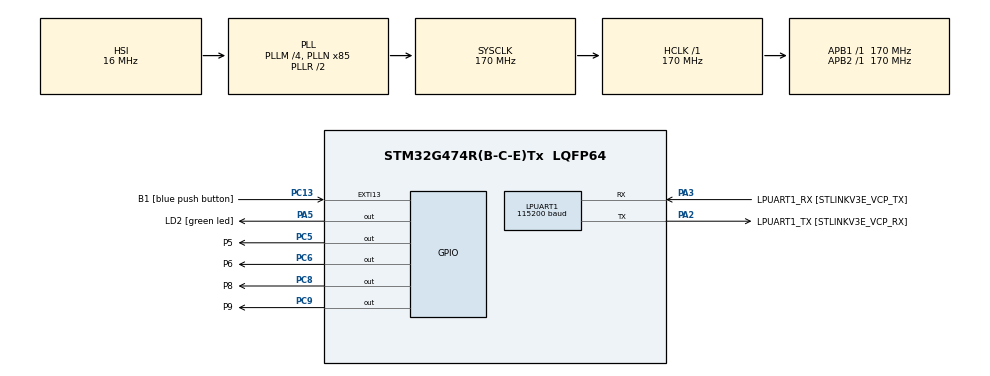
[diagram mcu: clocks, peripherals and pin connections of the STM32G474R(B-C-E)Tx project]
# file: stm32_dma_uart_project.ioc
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Dma.LPUART1_RX.0.Direction=DMA_PERIPH_TO_MEMORY
Dma.LPUART1_RX.0.EventEnable=DISABLE
Dma.LPUART1_RX.0.Instance=DMA1_Channel2
Dma.LPUART1_RX.0.MemDataAlignment=DMA_MDATAALIGN_BYTE
Dma.LPUART1_RX.0.MemInc=DMA_MINC_ENABLE
Dma.LPUART1_RX.0.Mode=DMA_NORMAL
Dma.LPUART1_RX.0.PeriphDataAlignment=DMA_PDATAALIGN_BYTE
Dma.LPUART1_RX.0.PeriphInc=DMA_PINC_DISABLE
Dma.LPUART1_RX.0.Polarity=HAL_DMAMUX_REQ_GEN_RISING
Dma.LPUART1_RX.0.Priority=DMA_PRIORITY_LOW
Dma.LPUART1_RX.0.RequestNumber=1
Dma.LPUART1_RX.0.SignalID=NONE
Dma.LPUART1_RX.0.SyncEnable=DISABLE
Dma.LPUART1_RX.0.SyncPolarity=HAL_DMAMUX_SYNC_NO_EVENT
Dma.LPUART1_RX.0.SyncRequestNumber=1
Dma.LPUART1_RX.0.SyncSignalID=NONE
Dma.Request0=LPUART1_RX
LPUART1.BaudRate=115200
LPUART1.WordLength=UART_WORDLENGTH_8B
Mcu.Family=STM32G4
Mcu.Name=STM32G474R(B-C-E)Tx
Mcu.Package=LQFP64
NVIC.DMA1_Channel2_IRQn=true\:0\:0\:false\:false\:true\:false\:true\:true
NVIC.EXTI15_10_IRQn=true\:0\:0\:false\:false\:true\:true\:true\:true
NVIC.LPUART1_IRQn=true\:0\:0\:false\:true\:true\:1\:true\:true\:true
NVIC.PriorityGroup=NVIC_PRIORITYGROUP_4
PA13.GPIO_Label=T_SWDIO
PA13.Mode=Serial_Wire
PA13.Signal=SYS_JTMS-SWDIO
PA14.GPIO_Label=T_SWCLK
PA14.Mode=Serial_Wire
PA14.Signal=SYS_JTCK-SWCLK
PA2.GPIO_Label=LPUART1_TX [STLINKV3E_VCP_RX]
PA2.Mode=Asynchronous
PA2.Signal=LPUART1_TX
PA3.GPIO_Label=LPUART1_RX [STLINKV3E_VCP_TX]
PA3.Mode=Asynchronous
PA3.Signal=LPUART1_RX
PA5.GPIO_Label=LD2 [green led]
PA5.Signal=GPIO_Output
PB3.GPIO_Label=T_SWO
PB3.Signal=SYS_JTDO-SWO
PC13.GPIO_Label=B1 [blue push button]
PC13.Signal=GPXTI13
PC14-OSC32_IN.Mode=LSE-External-Oscillator
PC14-OSC32_IN.Signal=RCC_OSC32_IN
PC15-OSC32_OUT.Mode=LSE-External-Oscillator
PC15-OSC32_OUT.Signal=RCC_OSC32_OUT
PC5.GPIO_Label=P5
PC5.Signal=GPIO_Output
PC6.GPIO_Label=P6
PC6.Signal=GPIO_Output
PC8.GPIO_Label=P8
PC8.Signal=GPIO_Output
PC9.GPIO_Label=P9
PC9.Signal=GPIO_Output
PF0-OSC_IN.Mode=HSE-External-Oscillator
PF0-OSC_IN.Signal=RCC_OSC_IN
PF1-OSC_OUT.Mode=HSE-External-Oscillator
PF1-OSC_OUT.Signal=RCC_OSC_OUT
ProjectManager.HeapSize=0x200
ProjectManager.StackSize=0x400
ProjectManager.TargetToolchain=STM32CubeIDE
RCC.ADC12Freq_Value=170000000
RCC.ADC345Freq_Value=170000000
RCC.AHBFreq_Value=170000000
RCC.APB1Freq_Value=170000000
RCC.APB1TimFreq_Value=170000000
RCC.APB2Freq_Value=170000000
RCC.APB2TimFreq_Value=170000000
RCC.CortexFreq_Value=170000000
RCC.EXTERNAL_CLOCK_VALUE=12288000
RCC.HCLKFreq_Value=170000000
RCC.HSE_VALUE=24000000
RCC.HSI48_VALUE=48000000
RCC.HSI_VALUE=16000000
RCC.PLLM=RCC_PLLM_DIV4
RCC.PLLN=85
RCC.RTCClockSelection=RCC_RTCCLKSOURCE_LSE
RCC.SYSCLKFreq_VALUE=170000000
RCC.SYSCLKSource=RCC_SYSCLKSOURCE_PLLCLK
RCC.USBFreq_Value=170000000
RCC.VCOOutputFreq_Value=340000000
VP_SYS_VS_DBSignals.Mode=DisableDeadBatterySignals
board=NUCLEO-G474RE

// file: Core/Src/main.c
/* USER CODE BEGIN Header */
/**
  ******************************************************************************
  * @file           : main.c
  * @brief          : Main program body
  ******************************************************************************
  * @attention
  *
  * Copyright (c) 2024 STMicroelectronics.
  * All rights reserved.
  *
  * This software is licensed under terms that can be found in the LICENSE file
  * in the root directory of this software component.
  * If no LICENSE file comes with this software, it is provided AS-IS.
  *
  ******************************************************************************
  */
/* USER CODE END Header */
#include "main.h"
#include "dma.h"
#include "usart.h"
#include "gpio.h"

/* USER CODE BEGIN Includes */

#include <stdbool.h>

#include "stdio.h"
#include "string.h"

#include "ring_buffer.h"
#include "uartLog.h"
#include "parser.h"

/* USER CODE END Includes */

/* USER CODE BEGIN PD */

#define L1(s) HAL_GPIO_WritePin(P5_GPIO_Port, P5_Pin, s)
#define L2(s) HAL_GPIO_WritePin(P6_GPIO_Port, P6_Pin, s)
#define L3(s) HAL_GPIO_WritePin(P8_GPIO_Port, P8_Pin, s)
#define L4(s) HAL_GPIO_WritePin(P9_GPIO_Port, P9_Pin, s)

/* USER CODE END PD */

/* USER CODE BEGIN PV */

RingBuffer_t receiveBuffer;

uint8_t rx_buffer[32];
uint8_t receiveTmp;
uint8_t receiveLine;
uint8_t receiveData[32];

extern bool ledStatus[4];

uint8_t test[32];

/* USER CODE END PV */

void SystemClock_Config(void);
static void MX_NVIC_Init(void);
/* USER CODE BEGIN PFP */

void updateLedStatus(void);

/* USER CODE END PFP */

int main(void)
{

  /* MCU Configuration--------------------------------------------------------*/

  /* Reset of all peripherals, Initializes the Flash interface and the Systick. */
  HAL_Init();

  /* Configure the system clock */
  SystemClock_Config();

  /* Initialize all configured peripherals */
  MX_GPIO_Init();
  MX_DMA_Init();
  MX_LPUART1_UART_Init();

  /* Initialize interrupts */
  MX_NVIC_Init();
  /* USER CODE BEGIN 2 */

  HAL_UARTEx_ReceiveToIdle_DMA(&hlpuart1, rx_buffer, 32);

  /* USER CODE END 2 */

  /* Infinite loop */
  /* USER CODE BEGIN WHILE */

  UART_tx("Hello world \r\n");

  while (1)
  {
	  if(receiveLine > 0)
	  {

		  RB_to_command(&receiveBuffer, receiveData);

		  receiveLine--;

		  comandParser(receiveData);

		  updateLedStatus();
	  }

    /* USER CODE END WHILE */

  }
}

void SystemClock_Config(void)
{
  RCC_OscInitTypeDef RCC_OscInitStruct = {0};
  RCC_ClkInitTypeDef RCC_ClkInitStruct = {0};

  /** Configure the main internal regulator output voltage
  */
  HAL_PWREx_ControlVoltageScaling(PWR_REGULATOR_VOLTAGE_SCALE1_BOOST);

  /** Initializes the RCC Oscillators according to the specified parameters
  * in the RCC_OscInitTypeDef structure.
  */
  RCC_OscInitStruct.OscillatorType = RCC_OSCILLATORTYPE_HSI;
  RCC_OscInitStruct.HSIState = RCC_HSI_ON;
  RCC_OscInitStruct.HSICalibrationValue = RCC_HSICALIBRATION_DEFAULT;
  RCC_OscInitStruct.PLL.PLLState = RCC_PLL_ON;
  RCC_OscInitStruct.PLL.PLLSource = RCC_PLLSOURCE_HSI;
  RCC_OscInitStruct.PLL.PLLM = RCC_PLLM_DIV4;
  RCC_OscInitStruct.PLL.PLLN = 85;
  RCC_OscInitStruct.PLL.PLLP = RCC_PLLP_DIV2;
  RCC_OscInitStruct.PLL.PLLQ = RCC_PLLQ_DIV2;
  RCC_OscInitStruct.PLL.PLLR = RCC_PLLR_DIV2;
  if (HAL_RCC_OscConfig(&RCC_OscInitStruct) != HAL_OK)
  {
    Error_Handler();
  }

  /** Initializes the CPU, AHB and APB buses clocks
  */
  RCC_ClkInitStruct.ClockType = RCC_CLOCKTYPE_HCLK|RCC_CLOCKTYPE_SYSCLK
                              |RCC_CLOCKTYPE_PCLK1|RCC_CLOCKTYPE_PCLK2;
  RCC_ClkInitStruct.SYSCLKSource = RCC_SYSCLKSOURCE_PLLCLK;
  RCC_ClkInitStruct.AHBCLKDivider = RCC_SYSCLK_DIV1;
  RCC_ClkInitStruct.APB1CLKDivider = RCC_HCLK_DIV1;
  RCC_ClkInitStruct.APB2CLKDivider = RCC_HCLK_DIV1;

  if (HAL_RCC_ClockConfig(&RCC_ClkInitStruct, FLASH_LATENCY_4) != HAL_OK)
  {
    Error_Handler();
  }
}

/**
  * @brief NVIC Configuration.
  * @retval None
  */
static void MX_NVIC_Init(void)
{
  /* LPUART1_IRQn interrupt configuration */
  HAL_NVIC_SetPriority(LPUART1_IRQn, 0, 0);
  HAL_NVIC_EnableIRQ(LPUART1_IRQn);
}

/* USER CODE BEGIN 4 */

// generowany an koniec odbierania (idle) lub po odebranoiu 32 znaków
void HAL_UARTEx_RxEventCallback(UART_HandleTypeDef *huart, uint16_t Size)
{
	if(huart->Instance == LPUART1)
	{
		for(int i = 0; i < Size; i++)
		{
			if(RB_Write(&receiveBuffer, rx_buffer[i]) == RB_OK)
			{
				if(rx_buffer[i] == ENDLINE)
				{
					receiveLine++;
				}
			}
		}

		 HAL_UARTEx_ReceiveToIdle_DMA(&hlpuart1, rx_buffer, 32);
	}
}

// ############################# INTERUPT (up) ####################################################

void updateLedStatus(void)
{
	L1(ledStatus[0]);
	L2(ledStatus[1]);
	L3(ledStatus[2]);
	L4(ledStatus[3]);
}

// ############################# Function (up) ####################################################

/* USER CODE END 4 */

void Error_Handler(void)
{
  __disable_irq();
  while (1)
  {
  }
}
